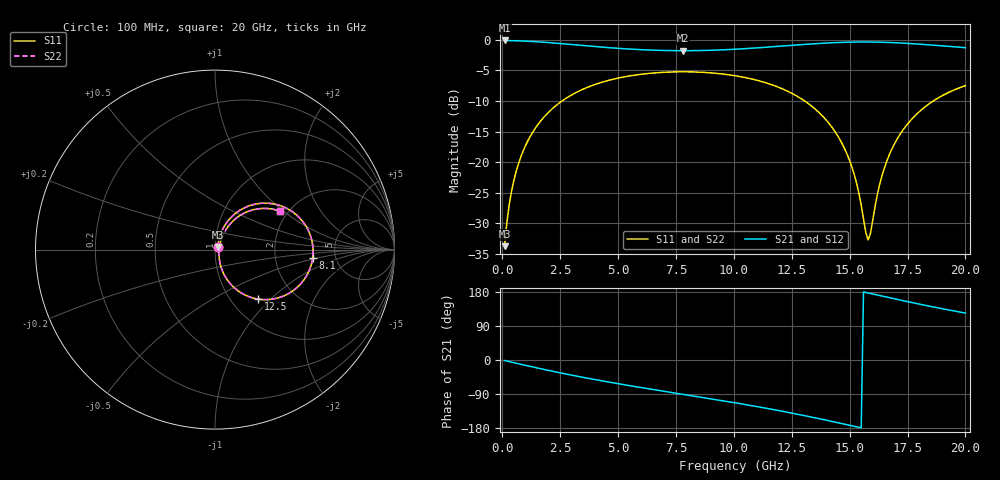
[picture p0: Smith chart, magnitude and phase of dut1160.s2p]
! Touchstone file exported from HFSS 2026.1.0
!  File:  C:/ffzhzh/LocalFiles/Ansys_Project_Files/temp_train_TSV_RDL_1160_1783312174_39728.aedt
!  Generated:  12:43:35 PM Jul  6, 2026
!  Design:  TSV_RDL
!  Project:  temp_train_TSV_RDL_1160_1783312174_39728
! Variables:
!  h_bsmrdl = 4.12um
!  h_ox = 20um
!  h_rdl = 5um
!  h_sub = 67.69um
!  h_tmrdl = 5.65um
!  h_tsv = 67.69um
!  h_via = 3um
!  l_bsmrdl = 354.88um
!  l_sub = 4059.5um
!  l_tmrdl = 617.29um
!  m_sub = 200um
!  pitch = 51.71um
!  r_tsv = 5.44um
!  s_tmrdl = 10um
!  w_bsmrdl = 15.26um
!  w_sub = 500um
!  w_tmrdl = 26.64um
!  x_tsv_center1 = 630.61um
!  x_tsv_center2 = 1000.75um
!  x_tsv_center3 = 1644.68um
!  x_tsv_center4 = 2014.82um
!  x_tsv_center5 = 2658.75um
!  x_tsv_center6 = 3028.89um
# GHz S MA R 50.000000
! Terminal data exported
! Port[1] = TM_RDL1_1_T1
! Port[2] = TM_RDL5_1_T1
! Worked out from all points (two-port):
!   200 points, 100 MHz to 20 GHz, reference 50 ohm
!   highest |S21| = -0.13 dB at 100 MHz (marker M1); lowest = -1.8 dB at 7.8 GHz (marker M2)
!   |S21| within 3 dB of the highest: start of sweep to end of sweep
!   lowest |S11| = -33.7 dB at 100 MHz (marker M3), VSWR 1.04, Z = 51.5 + j1.47 ohm
!   |S11| at or under -10 dB: start of sweep to 2.583 GHz; 13.05 GHz to 18.61 GHz (5.56 GHz wide, 35.1 % of centre)
!   |S22| runs from -33.7 to -5.2 dB; largest |S21 - S12| = 3.6e-14
!   S11 on the Smith chart (normalised r, x): 100 MHz: 1.03, +0.03; 8.1 GHz: 3.34, -0.45; 12.5 GHz: 1.32, -0.84; 20 GHz: 1.82, +0.95
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0.1  0.02065 43.8  0.9853 -1.5  0.9853 -1.5  0.02065 43.8
! Gamma 0 0 0 0
! Port Impedance 50 0 50 0
0.3  0.04508 65.3  0.9834 -4.3  0.9834 -4.3  0.04508 65.3
0.5  0.07115 69.6  0.9813 -7.1  0.9813 -7.1  0.07115 69.6
1.1  0.1491 67.7  0.9712 -15.5  0.9712 -15.5  0.1491 67.7
2.1  0.2669 56.8  0.9434 -28.8  0.9434 -28.8  0.2669 56.8
3.5  0.3954 40.8  0.8953 -46.0  0.8953 -46.0  0.3954 40.8
6.8  0.5392 7.3  0.8177 -80.7  0.8177 -80.7  0.5392 7.3
7.8  0.5468 -2.1  0.8128 -90.5  0.8128 -90.5  0.5467 -2.1
8.1  0.5461 -4.9  0.8132 -93.4  0.8132 -93.4  0.5461 -4.9
10.1  0.5062 -24.1  0.8363 -113.4  0.8363 -113.4  0.5062 -24.0
12.5  0.3652 -49.0  0.8993 -140.1  0.8993 -140.1  0.3652 -49.0
13.4  0.2828 -58.8  0.9245 -151.2  0.9245 -151.2  0.2827 -58.7
14.3  0.1857 -67.7  0.9447 -162.9  0.9447 -162.9  0.1857 -67.6
14.9  0.1151 -71.1  0.9534 -170.9  0.9534 -170.9  0.1151 -71.0
15.3  0.06742 -67.9  0.9565 -176.4  0.9565 -176.4  0.0675 -67.6
15.8  0.0232 -6.1  0.957 176.8  0.957 176.8  0.02357 -6.0
15.9  0.02611 21.3  0.9567 175.5  0.9567 175.5  0.02645 21.0
16.3  0.06613 58.1  0.9538 170.0  0.9538 170.0  0.06629 57.8
16.7  0.1133 61.6  0.9487 164.6  0.9487 164.6  0.1134 61.4
17.3  0.1827 58.3  0.9373 156.6  0.9373 156.6  0.1828 58.2
18  0.2576 51.6  0.9197 147.6  0.9197 147.6  0.2576 51.6
20  0.4214 30.5  0.8604 123.8  0.8604 123.8  0.4214 30.5
